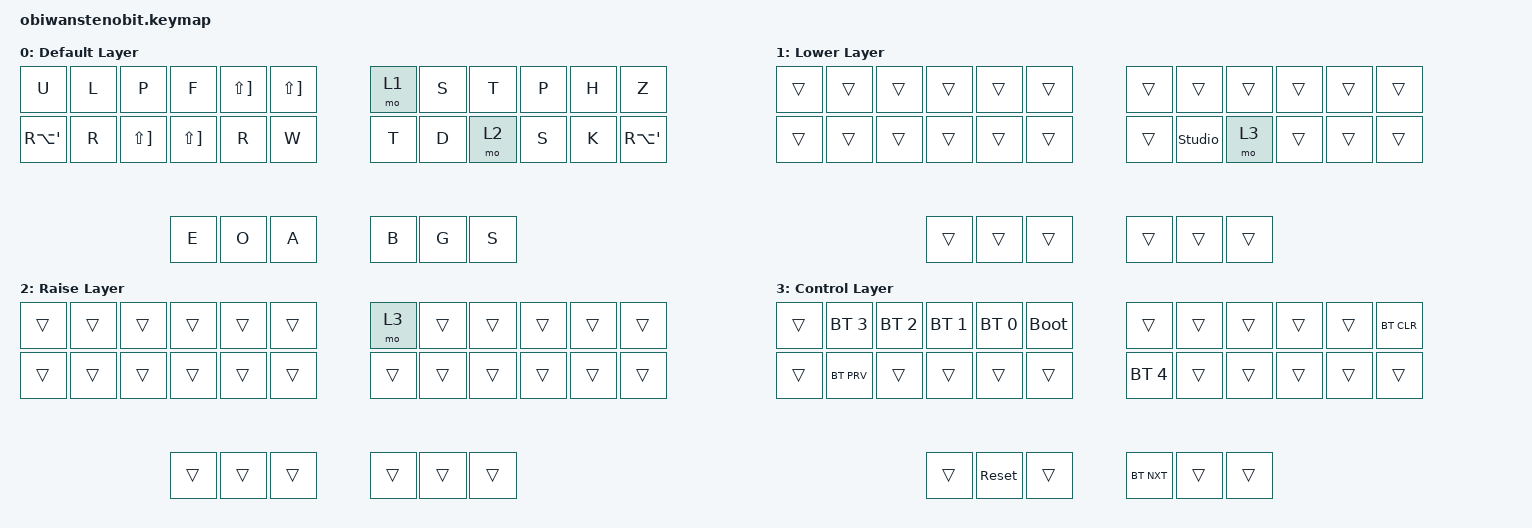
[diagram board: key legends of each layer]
/*
 * Copyright (c) 2026 The ZMK Contributors
 *
 * SPDX-License-Identifier: MIT
 */

#include <behaviors.dtsi>
#include <dt-bindings/zmk/keys.h>
#include <dt-bindings/zmk/bt.h>

/ {
    keymap {
        compatible = "zmk,keymap";

        default_layer {
            display-name = "Default Layer";
// -----------------------------------------------------------------------------
// | MO(1) |  S  |  T  |  P  |  H  |  *  |   |  *  |  F  |  P  |  L  |  T  |  D  |
// | MO(2) |  S  |  K  |  W  |  R  |  *  |   |  *  |  R  |  B  |  G  |  S  |  Z  |
//                                                                              
//                     |  #  |  A  |  O  |   |  E  |  U  |  #  |                  
            bindings = <
&mo 1   &kp S   &kp T   &kp P       &kp H   &kp LS(RBKT)    &kp LS(RBKT)    &kp F   &kp P       &kp L   &kp T   &kp D
&mo 2   &kp S   &kp K   &kp W       &kp R   &kp LS(RBKT)    &kp LS(RBKT)    &kp R   &kp B       &kp G   &kp S   &kp Z
                        &kp RA(SQT) &kp A   &kp O           &kp E           &kp U   &kp RA(SQT)                          
            >;
        };

        lower_layer {
            display-name = "Lower Layer";
// -----------------------------------------------------------------------------
// |       |     |     |     |     |     |   |     |     |     |     |     | ZMK STUDIO |
// | MO(3) |     |     |     |     |     |   |     |     |     |     |     |            |
//                                                                              
//                     |     |     |     |   |     |     |     |                  
            bindings = <
&trans  &trans  &trans  &trans  &trans  &trans  &trans  &trans  &trans  &trans  &trans  &studio_unlock
&mo 3   &trans  &trans  &trans  &trans  &trans  &trans  &trans  &trans  &trans  &trans  &trans
                        &trans  &trans  &trans  &trans  &trans  &trans                                                  
            >;
        };

        raise_layer {
            display-name = "Raise Layer";
// -----------------------------------------------------------------------------
// | MO(3) |     |     |     |     |     |   |     |     |     |     |     |     |
// |       |     |     |     |     |     |   |     |     |     |     |     |     |
//                                                                              
//                     |     |     |     |   |     |     |     |                  
            bindings = <
&mo 3   &trans  &trans  &trans  &trans  &trans  &trans  &trans  &trans  &trans  &trans  &trans
&trans  &trans  &trans  &trans  &trans  &trans  &trans  &trans  &trans  &trans  &trans  &trans
                        &trans  &trans  &trans  &trans  &trans  &trans                                                  
            >;
        };

        control_layer {
            display-name = "Control Layer";
// -----------------------------------------------------------------------------
// |       |     |     |     |     |BOOT |   | BT0 | BT1 | BT2 | BT3 | BT4 |     |
// |       |     |     |     |     |     |   |     | PRV | NXT |     |     | CLR |
//                                                                              
//                     |     |     | RST |   |     |     |     |                  
            bindings = <
&trans  &trans  &trans  &trans  &trans  &bootloader &bt BT_SEL 0    &bt BT_SEL 1    &bt BT_SEL 2    &bt BT_SEL 3    &bt BT_SEL 4    &trans
&trans  &trans  &trans  &trans  &trans  &trans      &trans          &bt BT_PRV      &bt BT_NXT      &trans          &trans          &bt BT_CLR
                        &trans  &trans  &sys_reset  &trans          &trans          &trans                                                  
            >;
        };
    };
};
